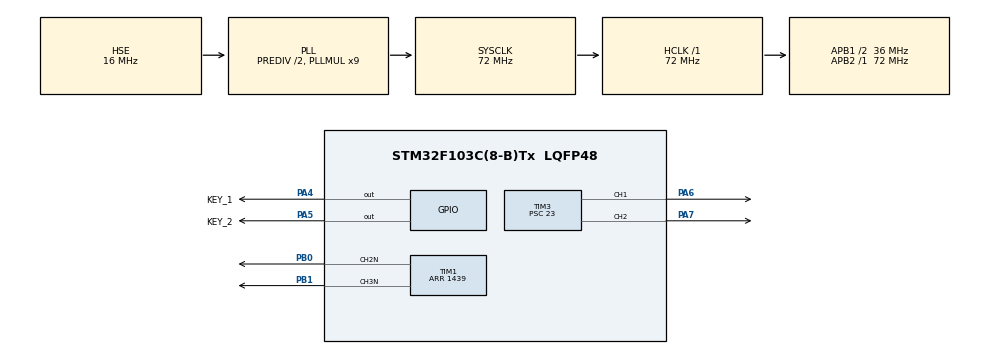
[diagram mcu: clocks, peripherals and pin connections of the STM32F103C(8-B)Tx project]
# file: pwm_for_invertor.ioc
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Dma.Request0=TIM1_CH2
Dma.Request1=TIM1_CH3
Dma.TIM1_CH2.0.Direction=DMA_MEMORY_TO_PERIPH
Dma.TIM1_CH2.0.Instance=DMA1_Channel3
Dma.TIM1_CH2.0.MemDataAlignment=DMA_MDATAALIGN_WORD
Dma.TIM1_CH2.0.MemInc=DMA_MINC_ENABLE
Dma.TIM1_CH2.0.Mode=DMA_CIRCULAR
Dma.TIM1_CH2.0.PeriphDataAlignment=DMA_PDATAALIGN_WORD
Dma.TIM1_CH2.0.PeriphInc=DMA_PINC_DISABLE
Dma.TIM1_CH2.0.Priority=DMA_PRIORITY_VERY_HIGH
Dma.TIM1_CH3.1.Direction=DMA_MEMORY_TO_PERIPH
Dma.TIM1_CH3.1.Instance=DMA1_Channel6
Dma.TIM1_CH3.1.MemDataAlignment=DMA_MDATAALIGN_WORD
Dma.TIM1_CH3.1.MemInc=DMA_MINC_ENABLE
Dma.TIM1_CH3.1.Mode=DMA_CIRCULAR
Dma.TIM1_CH3.1.PeriphDataAlignment=DMA_PDATAALIGN_WORD
Dma.TIM1_CH3.1.PeriphInc=DMA_PINC_DISABLE
Dma.TIM1_CH3.1.Priority=DMA_PRIORITY_VERY_HIGH
Mcu.Family=STM32F1
Mcu.Name=STM32F103C(8-B)Tx
Mcu.Package=LQFP48
NVIC.DMA1_Channel3_IRQn=true\:0\:0\:false\:false\:true
NVIC.DMA1_Channel6_IRQn=true\:0\:0\:false\:false\:true
NVIC.PriorityGroup=NVIC_PRIORITYGROUP_4
NVIC.TIM1_UP_IRQn=true\:0\:0\:false\:false\:true
NVIC.TIM2_IRQn=true\:0\:0\:false\:false\:true
PA13.Mode=Serial_Wire
PA13.Signal=SYS_JTMS-SWDIO
PA14.Mode=Serial_Wire
PA14.Signal=SYS_JTCK-SWCLK
PA4.GPIO_Label=KEY_1
PA4.GPIO_Speed=GPIO_SPEED_FREQ_HIGH
PA4.PinState=GPIO_PIN_RESET
PA4.Signal=GPIO_Output
PA5.GPIO_Label=KEY_2
PA5.GPIO_Speed=GPIO_SPEED_FREQ_HIGH
PA5.Signal=GPIO_Output
PA6.Signal=S_TIM3_CH1
PA7.Signal=S_TIM3_CH2
PB0.Mode=PWM Generation2 CH2N
PB0.Signal=TIM1_CH2N
PB1.Mode=PWM Generation3 CH3N
PB1.Signal=TIM1_CH3N
PD0-OSC_IN.Mode=HSE-External-Oscillator
PD0-OSC_IN.Signal=RCC_OSC_IN
PD1-OSC_OUT.Mode=HSE-External-Oscillator
PD1-OSC_OUT.Signal=RCC_OSC_OUT
ProjectManager.HeapSize=0x200
ProjectManager.StackSize=0x400
ProjectManager.TargetToolchain=MDK-ARM V5
RCC.AHBFreq_Value=72000000
RCC.APB1CLKDivider=RCC_HCLK_DIV2
RCC.APB1Freq_Value=36000000
RCC.APB1TimFreq_Value=72000000
RCC.APB2Freq_Value=72000000
RCC.APB2TimFreq_Value=72000000
RCC.HCLKFreq_Value=72000000
RCC.HSEDivPLL=RCC_HSE_PREDIV_DIV2
RCC.HSE_VALUE=16000000
RCC.HSIState=RCC_HSI_ON
RCC.PLLMUL=RCC_PLL_MUL9
RCC.PLLSourceVirtual=RCC_PLLSOURCE_HSE
RCC.SYSCLKFreq_VALUE=72000000
RCC.SYSCLKSource=RCC_SYSCLKSOURCE_PLLCLK
RCC.USBFreq_Value=72000000
SH.S_TIM3_CH1.0=TIM3_CH1,PWM Generation1 CH1
SH.S_TIM3_CH2.0=TIM3_CH2,PWM Generation2 CH2
TIM1.Channel-PWM\ Generation2\ CH2N=TIM_CHANNEL_2
TIM1.Channel-PWM\ Generation3\ CH3N=TIM_CHANNEL_3
TIM1.OCMode_PWM-PWM\ Generation3\ CH3N=TIM_OCMODE_PWM2
TIM1.Period=1439
TIM1.TIM_MasterOutputTrigger=TIM_TRGO_UPDATE
TIM1.TIM_MasterSlaveMode=TIM_MASTERSLAVEMODE_ENABLE
TIM2.Period=7199
TIM2.TIM_MasterSlaveMode=TIM_MASTERSLAVEMODE_DISABLE
TIM3.Channel-PWM\ Generation2\ CH2=TIM_CHANNEL_2
TIM3.OCMode_PWM-PWM\ Generation2\ CH2=TIM_OCMODE_PWM2
TIM3.Period=59999
TIM3.Prescaler=23
TIM3.Pulse-PWM\ Generation1\ CH1=29999
TIM3.Pulse-PWM\ Generation2\ CH2=29999
TIM3.TIM_MasterOutputTrigger=TIM_TRGO_ENABLE
TIM3.TIM_MasterSlaveMode=TIM_MASTERSLAVEMODE_DISABLE
VP_TIM2_VS_ClockSourceINT.Mode=Internal
board=pwm_for_invertor

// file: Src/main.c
/**
  ******************************************************************************
  * File Name          : main.c
  * Description        : Main program body
  ******************************************************************************
  *
  * COPYRIGHT(c) 2016 STMicroelectronics
  *
  * Redistribution and use in source and binary forms, with or without modification,
  * are permitted provided that the following conditions are met:
  *   1. Redistributions of source code must retain the above copyright notice,
  *      this list of conditions and the following disclaimer.
  *   2. Redistributions in binary form must reproduce the above copyright notice,
  *      this list of conditions and the following disclaimer in the documentation
  *      and/or other materials provided with the distribution.
  *   3. Neither the name of STMicroelectronics nor the names of its contributors
  *      may be used to endorse or promote products derived from this software
  *      without specific prior written permission.
  *
  * THIS SOFTWARE IS PROVIDED BY THE COPYRIGHT HOLDERS AND CONTRIBUTORS "AS IS"
  * AND ANY EXPRESS OR IMPLIED WARRANTIES, INCLUDING, BUT NOT LIMITED TO, THE
  * IMPLIED WARRANTIES OF MERCHANTABILITY AND FITNESS FOR A PARTICULAR PURPOSE ARE
  * DISCLAIMED. IN NO EVENT SHALL THE COPYRIGHT HOLDER OR CONTRIBUTORS BE LIABLE
  * FOR ANY DIRECT, INDIRECT, INCIDENTAL, SPECIAL, EXEMPLARY, OR CONSEQUENTIAL
  * DAMAGES (INCLUDING, BUT NOT LIMITED TO, PROCUREMENT OF SUBSTITUTE GOODS OR
  * SERVICES; LOSS OF USE, DATA, OR PROFITS; OR BUSINESS INTERRUPTION) HOWEVER
  * CAUSED AND ON ANY THEORY OF LIABILITY, WHETHER IN CONTRACT, STRICT LIABILITY,
  * OR TORT (INCLUDING NEGLIGENCE OR OTHERWISE) ARISING IN ANY WAY OUT OF THE USE
  * OF THIS SOFTWARE, EVEN IF ADVISED OF THE POSSIBILITY OF SUCH DAMAGE.
  *
  ******************************************************************************
  */
#include "stm32f1xx_hal.h"

/* USER CODE BEGIN Includes */
#include <math.h>
/* USER CODE END Includes */

TIM_HandleTypeDef htim1;
TIM_HandleTypeDef htim2;
TIM_HandleTypeDef htim3;
DMA_HandleTypeDef hdma_tim1_ch2;
DMA_HandleTypeDef hdma_tim1_ch3;

/* USER CODE BEGIN PV */
/* Private variables ---------------------------------------------------------*/

/* USER CODE END PV */

void SystemClock_Config(void);
void Error_Handler(void);
static void MX_GPIO_Init(void);
static void MX_DMA_Init(void);
static void MX_TIM1_Init(void);
static void MX_TIM2_Init(void);
static void MX_TIM3_Init(void);

void HAL_TIM_MspPostInit(TIM_HandleTypeDef *htim);

/* USER CODE BEGIN PFP */
/* Private function prototypes -----------------------------------------------*/

/* USER CODE END PFP */

/* USER CODE BEGIN 0 */

//static uint8_t cnt = 0;

//void HAL_TIM_PWM_PulseFinishedCallback(TIM_HandleTypeDef *htim){
//	if (cnt == 0){
//		TIM2->CCR1 = PULSE1_VALUE;
//		cnt = 1;
//	}
//	else{
//		TIM2->CCR1 = PULSE4_VALUE;
//		cnt = 0;
//	}
//}

TIM_HandleTypeDef    TimHandle;

TIM_OC_InitTypeDef sConfig;

#define M_PI 3.14159265358979323846

uint32_t buffer[1000] = {0};
uint32_t buffer2[1000] = {0};
uint32_t change_buf[1000] = {0};
uint32_t change_buf2[1000] = {0};

/* Timer Period*/
uint32_t uwTimerPeriod  = 0;

uint32_t sin_duty[16] = {0, 9, 19, 28, 37, 45, 53, 60, 67, 73, 78, 82, 86, 88, 89, 90};

void change(int n){
	int i;

	for (i = n; i < 1000; i++){
		change_buf[i] = buffer[i-n] ;
		change_buf2[i] = buffer2[i-n] ;
  }

	for (i = 0; i < n; i++){
		change_buf[i] = buffer[1000-n+i] ;
		change_buf2[i] = buffer2[1000-n+i] ;
  }
}

extern int cnt;
int start = 0;
void HAL_TIM_PeriodElapsedCallback(TIM_HandleTypeDef *htim){

 HAL_GPIO_WritePin(GPIOA, GPIO_PIN_6, GPIO_PIN_RESET);

//	if (!start){
//		cnt = 0;
//		start = 1;
//	}

//	cnt++;

//	if (cnt == 1){
//		HAL_GPIO_WritePin(KEY_1_GPIO_Port, KEY_1_Pin, GPIO_PIN_RESET);
//		HAL_GPIO_WritePin(KEY_2_GPIO_Port, KEY_2_Pin, GPIO_PIN_SET);
//	}
//	else if (cnt == 500+1){
//		HAL_GPIO_WritePin(KEY_1_GPIO_Port, KEY_1_Pin, GPIO_PIN_SET);
//		HAL_GPIO_WritePin(KEY_2_GPIO_Port, KEY_2_Pin, GPIO_PIN_RESET);
//	}
//	else if (cnt == 2*500){
//		cnt = 0;
//	}
}

/* USER CODE END 0 */

int main(void)
{

  /* USER CODE BEGIN 1 */
	int i;
	float h = M_PI/500;

	float x = 0;
	for (i = 0; i < 500; i++){
		buffer[i] = (uint32_t)(((uint32_t) (sin(x) * 100 * 0.813) * (1439 - 1)) / 100);
		x += h;
  }

	x = 0;
	for (i = 0; i < 500; i++){
		buffer[500 + i] = (uint32_t)(((uint32_t) ((1 - sin(x)) * 100 * 0.813) * (1439 - 1)) / 100);
		x += h;
  }

	for (i = 0; i < 1000; i++){
		buffer2[i] = buffer[i];
  }

  /* USER CODE END 1 */

  /* MCU Configuration----------------------------------------------------------*/

  /* Reset of all peripherals, Initializes the Flash interface and the Systick. */
  HAL_Init();

  /* Configure the system clock */
  SystemClock_Config();

  /* Initialize all configured peripherals */
  MX_GPIO_Init();
  MX_DMA_Init();
  MX_TIM1_Init();
  MX_TIM2_Init();
  MX_TIM3_Init();

  /* USER CODE BEGIN 2 */

	/* del
	for (i = 0; i < 9; i++){
		aCCValue_Buffer[i] = 0;
		aCCValue_Buffer2[i] = (uint32_t)(((uint32_t) (1 * 100 * 0.813) * (1439 - 1)) / 100);
  }

	for (i = 491; i < 509; i++){
		aCCValue_Buffer[i] = 0;
		aCCValue_Buffer2[i] = (uint32_t)(((uint32_t) (1 * 100 * 0.813) * (1439 - 1)) / 100);
  }

	for (i = 991; i < 1000; i++){
		aCCValue_Buffer[i] = 0;
		aCCValue_Buffer2[i] = (uint32_t)(((uint32_t) (1 * 100 * 0.813) * (1439 - 1)) / 100);
  }
	*/

	//change(998);

	HAL_TIM_PWM_Start(&htim3, TIM_CHANNEL_1);

	while(htim3.State != HAL_TIM_STATE_READY){};

	HAL_TIM_PWM_Start(&htim3, TIM_CHANNEL_2);

	HAL_TIMEx_PWMN_Start_DMA(&htim1, TIM_CHANNEL_2, change_buf, 1000);

	while(htim1.State != HAL_TIM_STATE_READY){};

	HAL_TIMEx_PWMN_Start_DMA(&htim1, TIM_CHANNEL_3, change_buf2, 1000);

	HAL_TIM_Base_Start_IT(&htim1);

  /* USER CODE END 2 */

  /* Infinite loop */
  while (1)
  {

  }

}

/** System Clock Configuration
*/
void SystemClock_Config(void)
{

  RCC_OscInitTypeDef RCC_OscInitStruct;
  RCC_ClkInitTypeDef RCC_ClkInitStruct;

  RCC_OscInitStruct.OscillatorType = RCC_OSCILLATORTYPE_HSE;
  RCC_OscInitStruct.HSEState = RCC_HSE_ON;
  RCC_OscInitStruct.HSEPredivValue = RCC_HSE_PREDIV_DIV2;
  RCC_OscInitStruct.PLL.PLLState = RCC_PLL_ON;
  RCC_OscInitStruct.PLL.PLLSource = RCC_PLLSOURCE_HSE;
  RCC_OscInitStruct.PLL.PLLMUL = RCC_PLL_MUL9;
  if (HAL_RCC_OscConfig(&RCC_OscInitStruct) != HAL_OK)
  {
    Error_Handler();
  }

  RCC_ClkInitStruct.ClockType = RCC_CLOCKTYPE_HCLK|RCC_CLOCKTYPE_SYSCLK
                              |RCC_CLOCKTYPE_PCLK1|RCC_CLOCKTYPE_PCLK2;
  RCC_ClkInitStruct.SYSCLKSource = RCC_SYSCLKSOURCE_PLLCLK;
  RCC_ClkInitStruct.AHBCLKDivider = RCC_SYSCLK_DIV1;
  RCC_ClkInitStruct.APB1CLKDivider = RCC_HCLK_DIV2;
  RCC_ClkInitStruct.APB2CLKDivider = RCC_HCLK_DIV1;
  if (HAL_RCC_ClockConfig(&RCC_ClkInitStruct, FLASH_LATENCY_2) != HAL_OK)
  {
    Error_Handler();
  }

  HAL_SYSTICK_Config(HAL_RCC_GetHCLKFreq()/1000);

  HAL_SYSTICK_CLKSourceConfig(SYSTICK_CLKSOURCE_HCLK);

  /* SysTick_IRQn interrupt configuration */
  HAL_NVIC_SetPriority(SysTick_IRQn, 0, 0);
}

/* TIM1 init function */
static void MX_TIM1_Init(void)
{

  TIM_MasterConfigTypeDef sMasterConfig;
  TIM_BreakDeadTimeConfigTypeDef sBreakDeadTimeConfig;
  TIM_OC_InitTypeDef sConfigOC;

  htim1.Instance = TIM1;
  htim1.Init.Prescaler = 0;
  htim1.Init.CounterMode = TIM_COUNTERMODE_UP;
  htim1.Init.Period = 1439;
  htim1.Init.ClockDivision = TIM_CLOCKDIVISION_DIV1;
  htim1.Init.RepetitionCounter = 0;
  if (HAL_TIM_PWM_Init(&htim1) != HAL_OK)
  {
    Error_Handler();
  }

	sMasterConfig.MasterOutputTrigger = TIM_TRGO_UPDATE;
  sMasterConfig.MasterSlaveMode     = TIM_MASTERSLAVEMODE_ENABLE;
  if( HAL_TIMEx_MasterConfigSynchronization(&htim1,&sMasterConfig) != HAL_OK)
  {
    /* Configuration Error */
    Error_Handler();
  }

  sBreakDeadTimeConfig.OffStateRunMode = TIM_OSSR_DISABLE;
  sBreakDeadTimeConfig.OffStateIDLEMode = TIM_OSSI_DISABLE;
  sBreakDeadTimeConfig.LockLevel = TIM_LOCKLEVEL_OFF;
  sBreakDeadTimeConfig.DeadTime = 0;
  sBreakDeadTimeConfig.BreakState = TIM_BREAK_DISABLE;
  sBreakDeadTimeConfig.BreakPolarity = TIM_BREAKPOLARITY_HIGH;
  sBreakDeadTimeConfig.AutomaticOutput = TIM_AUTOMATICOUTPUT_DISABLE;
  if (HAL_TIMEx_ConfigBreakDeadTime(&htim1, &sBreakDeadTimeConfig) != HAL_OK)
  {
    Error_Handler();
  }

  sConfigOC.OCMode = TIM_OCMODE_PWM1;
  sConfigOC.Pulse = 0;
  sConfigOC.OCPolarity = TIM_OCPOLARITY_HIGH;
  sConfigOC.OCNPolarity = TIM_OCNPOLARITY_HIGH;
  sConfigOC.OCFastMode = TIM_OCFAST_DISABLE;
  sConfigOC.OCIdleState = TIM_OCIDLESTATE_RESET;
  sConfigOC.OCNIdleState = TIM_OCNIDLESTATE_RESET;
  if (HAL_TIM_PWM_ConfigChannel(&htim1, &sConfigOC, TIM_CHANNEL_2) != HAL_OK)
  {
    Error_Handler();
  }

  sConfigOC.OCMode = TIM_OCMODE_PWM2;
  if (HAL_TIM_PWM_ConfigChannel(&htim1, &sConfigOC, TIM_CHANNEL_3) != HAL_OK)
  {
    Error_Handler();
  }

  HAL_TIM_MspPostInit(&htim1);

}

/* TIM2 init function */
static void MX_TIM2_Init(void)
{

  TIM_ClockConfigTypeDef sClockSourceConfig;
  TIM_MasterConfigTypeDef sMasterConfig;

  htim2.Instance = TIM2;
  htim2.Init.Prescaler = 0;
  htim2.Init.CounterMode = TIM_COUNTERMODE_UP;
  htim2.Init.Period = 7199;
  htim2.Init.ClockDivision = TIM_CLOCKDIVISION_DIV1;
  if (HAL_TIM_Base_Init(&htim2) != HAL_OK)
  {
    Error_Handler();
  }

  sClockSourceConfig.ClockSource = TIM_CLOCKSOURCE_INTERNAL;
  if (HAL_TIM_ConfigClockSource(&htim2, &sClockSourceConfig) != HAL_OK)
  {
    Error_Handler();
  }

  sMasterConfig.MasterOutputTrigger = TIM_TRGO_RESET;
  sMasterConfig.MasterSlaveMode = TIM_MASTERSLAVEMODE_DISABLE;
  if (HAL_TIMEx_MasterConfigSynchronization(&htim2, &sMasterConfig) != HAL_OK)
  {
    Error_Handler();
  }

}

/* TIM3 init function */
static void MX_TIM3_Init(void)
{

  TIM_SlaveConfigTypeDef   sSlaveConfig;
  TIM_OC_InitTypeDef sConfigOC;

  htim3.Instance = TIM3;
  htim3.Init.Prescaler = 0;
  htim3.Init.CounterMode = TIM_COUNTERMODE_UP;
  htim3.Init.Period = 999;
  htim3.Init.ClockDivision = TIM_CLOCKDIVISION_DIV1;
  if (HAL_TIM_PWM_Init(&htim3) != HAL_OK)
  {
    Error_Handler();
  }

  sSlaveConfig.SlaveMode     = TIM_SLAVEMODE_EXTERNAL1;
  sSlaveConfig.InputTrigger  = TIM_TS_ITR0;
  if(HAL_TIM_SlaveConfigSynchronization(&htim3, &sSlaveConfig) != HAL_OK)
  {
    /* Configuration Error */
    Error_Handler();
  }

  sConfigOC.OCMode = TIM_OCMODE_PWM2;
  sConfigOC.Pulse = 499;
  sConfigOC.OCPolarity = TIM_OCPOLARITY_HIGH;
  sConfigOC.OCFastMode = TIM_OCFAST_DISABLE;
  if (HAL_TIM_PWM_ConfigChannel(&htim3, &sConfigOC, TIM_CHANNEL_1) != HAL_OK)
  {
    Error_Handler();
  }

  sConfigOC.OCMode = TIM_OCMODE_PWM1;
  if (HAL_TIM_PWM_ConfigChannel(&htim3, &sConfigOC, TIM_CHANNEL_2) != HAL_OK)
  {
    Error_Handler();
  }

  HAL_TIM_MspPostInit(&htim3);

}

static void MX_DMA_Init(void)
{
  /* DMA controller clock enable */
  __HAL_RCC_DMA1_CLK_ENABLE();

  /* DMA interrupt init */
  /* DMA1_Channel3_IRQn interrupt configuration */
  HAL_NVIC_SetPriority(DMA1_Channel3_IRQn, 0, 0);
  HAL_NVIC_EnableIRQ(DMA1_Channel3_IRQn);
  /* DMA1_Channel6_IRQn interrupt configuration */
  HAL_NVIC_SetPriority(DMA1_Channel6_IRQn, 0, 0);
  HAL_NVIC_EnableIRQ(DMA1_Channel6_IRQn);

}

/** Configure pins as
        * Analog
        * Input
        * Output
        * EVENT_OUT
        * EXTI
*/
static void MX_GPIO_Init(void)
{

  GPIO_InitTypeDef GPIO_InitStruct;

  /* GPIO Ports Clock Enable */
  __HAL_RCC_GPIOD_CLK_ENABLE();
  __HAL_RCC_GPIOA_CLK_ENABLE();
  __HAL_RCC_GPIOB_CLK_ENABLE();

  /*Configure GPIO pin Output Level */
  HAL_GPIO_WritePin(GPIOA, KEY_1_Pin|KEY_2_Pin, GPIO_PIN_RESET);

  /*Configure GPIO pins : KEY_1_Pin KEY_2_Pin */
  GPIO_InitStruct.Pin = KEY_1_Pin|KEY_2_Pin;
  GPIO_InitStruct.Mode = GPIO_MODE_OUTPUT_PP;
  GPIO_InitStruct.Speed = GPIO_SPEED_FREQ_HIGH;
  HAL_GPIO_Init(GPIOA, &GPIO_InitStruct);

}

void Error_Handler(void)
{
  while(1)
  {
  }
}

/************************ (C) COPYRIGHT STMicroelectronics *****END OF FILE****/
